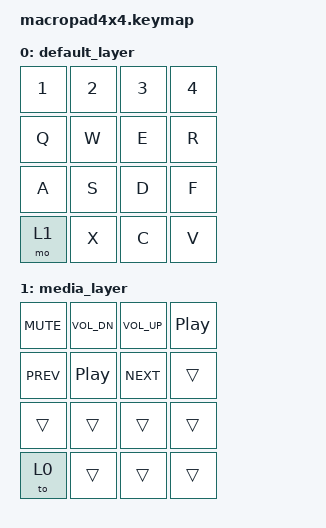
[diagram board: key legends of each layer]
#include <behaviors.dtsi>
#include <dt-bindings/zmk/keys.h>

/ {
    keymap {
        compatible = "zmk,keymap";

        default_layer {
            bindings = <
                &kp N1       &kp N2       &kp N3       &kp N4
                &kp Q        &kp W        &kp E        &kp R
                &kp A        &kp S        &kp D        &kp F
                &mo 1        &kp X        &kp C        &kp V
            >;
        };

        media_layer {
            bindings = <
                &kp C_MUTE    &kp C_VOL_DN  &kp C_VOL_UP &kp C_PP
                &kp C_PREV    &kp C_PP      &kp C_NEXT   &trans
                &trans        &trans        &trans       &trans
                &to 0         &trans        &trans       &trans
            >;
        };
    };
};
